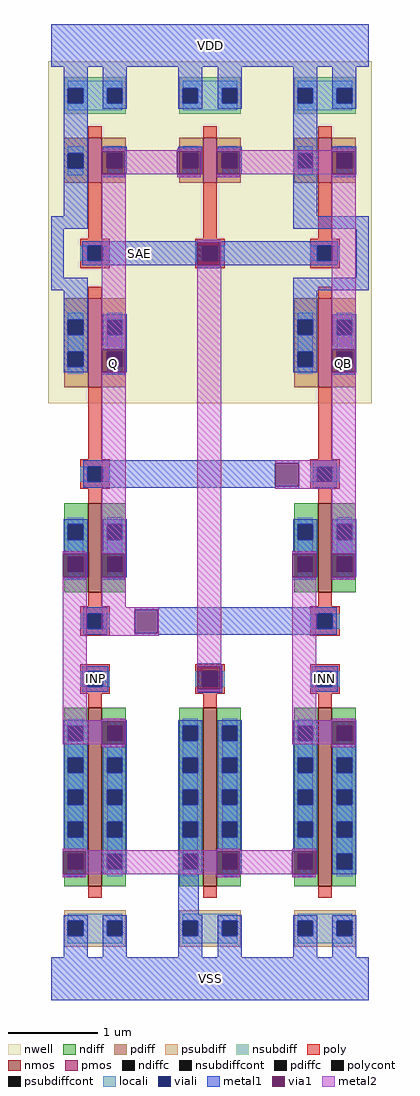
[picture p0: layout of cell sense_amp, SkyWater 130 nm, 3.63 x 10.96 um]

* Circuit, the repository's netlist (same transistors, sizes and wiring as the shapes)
.subckt sense_amp SAE INP INN Q QB VDD VSS
XMP3 Q SAE VDD VDD sky130_fd_pr__pfet_01v8 L=0.15 W=0.5 nf=1
XMP4 QB SAE VDD VDD sky130_fd_pr__pfet_01v8 L=0.15 W=0.5 nf=1
XMP5 QB SAE Q VDD sky130_fd_pr__pfet_01v8 L=0.15 W=0.5 nf=1
XMP1 Q QB VDD VDD sky130_fd_pr__pfet_01v8 L=0.15 W=1 nf=1
XMP2 QB Q VDD VDD sky130_fd_pr__pfet_01v8 L=0.15 W=1 nf=1
XMN1 Q QB FN1 VSS sky130_fd_pr__nfet_01v8 L=0.15 W=1 nf=1
XMN2 QB Q FN2 VSS sky130_fd_pr__nfet_01v8 L=0.15 W=1 nf=1
XMN3 FN1 INP TAIL VSS sky130_fd_pr__nfet_01v8 L=0.15 W=2 nf=1
XMN4 FN2 INN TAIL VSS sky130_fd_pr__nfet_01v8 L=0.15 W=2 nf=1
XMN0 TAIL SAE VSS VSS sky130_fd_pr__nfet_01v8 L=0.15 W=2 nf=1
.ends

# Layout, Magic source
magic
tech sky130B
<< nwell >>
rect -3 670 360 1054
<< nmos >>
rect 42 458 57 558
rect 300 458 315 558
rect 42 128 57 328
rect 171 128 186 328
rect 300 128 315 328
<< pmos >>
rect 42 918 57 968
rect 171 918 186 968
rect 300 918 315 968
rect 42 688 57 788
rect 300 688 315 788
<< ndiff >>
rect 15 534 42 558
rect 15 517 19 534
rect 36 517 42 534
rect 15 498 42 517
rect 15 481 19 498
rect 36 481 42 498
rect 15 458 42 481
rect 57 534 84 558
rect 57 517 63 534
rect 80 517 84 534
rect 57 498 84 517
rect 57 481 63 498
rect 80 481 84 498
rect 57 458 84 481
rect 273 534 300 558
rect 273 517 277 534
rect 294 517 300 534
rect 273 498 300 517
rect 273 481 277 498
rect 294 481 300 498
rect 273 458 300 481
rect 315 534 342 558
rect 315 517 321 534
rect 338 517 342 534
rect 315 498 342 517
rect 315 481 321 498
rect 338 481 342 498
rect 315 458 342 481
rect 15 308 42 328
rect 15 291 19 308
rect 36 291 42 308
rect 15 272 42 291
rect 15 255 19 272
rect 36 255 42 272
rect 15 236 42 255
rect 15 219 19 236
rect 36 219 42 236
rect 15 200 42 219
rect 15 183 19 200
rect 36 183 42 200
rect 15 164 42 183
rect 15 147 19 164
rect 36 147 42 164
rect 15 128 42 147
rect 57 308 84 328
rect 57 291 63 308
rect 80 291 84 308
rect 57 272 84 291
rect 57 255 63 272
rect 80 255 84 272
rect 57 236 84 255
rect 57 219 63 236
rect 80 219 84 236
rect 57 200 84 219
rect 57 183 63 200
rect 80 183 84 200
rect 57 164 84 183
rect 57 147 63 164
rect 80 147 84 164
rect 57 128 84 147
rect 144 308 171 328
rect 144 291 148 308
rect 165 291 171 308
rect 144 272 171 291
rect 144 255 148 272
rect 165 255 171 272
rect 144 236 171 255
rect 144 219 148 236
rect 165 219 171 236
rect 144 200 171 219
rect 144 183 148 200
rect 165 183 171 200
rect 144 164 171 183
rect 144 147 148 164
rect 165 147 171 164
rect 144 128 171 147
rect 186 308 213 328
rect 186 291 192 308
rect 209 291 213 308
rect 186 272 213 291
rect 186 255 192 272
rect 209 255 213 272
rect 186 236 213 255
rect 186 219 192 236
rect 209 219 213 236
rect 186 200 213 219
rect 186 183 192 200
rect 209 183 213 200
rect 186 164 213 183
rect 186 147 192 164
rect 209 147 213 164
rect 186 128 213 147
rect 273 308 300 328
rect 273 291 277 308
rect 294 291 300 308
rect 273 272 300 291
rect 273 255 277 272
rect 294 255 300 272
rect 273 236 300 255
rect 273 219 277 236
rect 294 219 300 236
rect 273 200 300 219
rect 273 183 277 200
rect 294 183 300 200
rect 273 164 300 183
rect 273 147 277 164
rect 294 147 300 164
rect 273 128 300 147
rect 315 308 342 328
rect 315 291 321 308
rect 338 291 342 308
rect 315 272 342 291
rect 315 255 321 272
rect 338 255 342 272
rect 315 236 342 255
rect 315 219 321 236
rect 338 219 342 236
rect 315 200 342 219
rect 315 183 321 200
rect 338 183 342 200
rect 315 164 342 183
rect 315 147 321 164
rect 338 147 342 164
rect 315 128 342 147
<< pdiff >>
rect 15 951 42 968
rect 15 934 19 951
rect 36 934 42 951
rect 15 918 42 934
rect 57 951 84 968
rect 57 934 63 951
rect 80 934 84 951
rect 57 918 84 934
rect 144 951 171 968
rect 144 934 148 951
rect 165 934 171 951
rect 144 918 171 934
rect 186 951 213 968
rect 186 934 192 951
rect 209 934 213 951
rect 186 918 213 934
rect 273 951 300 968
rect 273 934 277 951
rect 294 934 300 951
rect 273 918 300 934
rect 315 951 342 968
rect 315 934 321 951
rect 338 934 342 951
rect 315 918 342 934
rect 15 764 42 788
rect 15 747 19 764
rect 36 747 42 764
rect 15 728 42 747
rect 15 711 19 728
rect 36 711 42 728
rect 15 688 42 711
rect 57 764 84 788
rect 57 747 63 764
rect 80 747 84 764
rect 57 728 84 747
rect 57 711 63 728
rect 80 711 84 728
rect 57 688 84 711
rect 273 764 300 788
rect 273 747 277 764
rect 294 747 300 764
rect 273 728 300 747
rect 273 711 277 728
rect 294 711 300 728
rect 273 688 300 711
rect 315 764 342 788
rect 315 747 321 764
rect 338 747 342 764
rect 315 728 342 747
rect 315 711 321 728
rect 338 711 342 728
rect 315 688 342 711
<< ndiffc >>
rect 19 517 36 534
rect 19 481 36 498
rect 63 517 80 534
rect 63 481 80 498
rect 277 517 294 534
rect 277 481 294 498
rect 321 517 338 534
rect 321 481 338 498
rect 19 291 36 308
rect 19 255 36 272
rect 19 219 36 236
rect 19 183 36 200
rect 19 147 36 164
rect 63 291 80 308
rect 63 255 80 272
rect 63 219 80 236
rect 63 183 80 200
rect 63 147 80 164
rect 148 291 165 308
rect 148 255 165 272
rect 148 219 165 236
rect 148 183 165 200
rect 148 147 165 164
rect 192 291 209 308
rect 192 255 209 272
rect 192 219 209 236
rect 192 183 209 200
rect 192 147 209 164
rect 277 291 294 308
rect 277 255 294 272
rect 277 219 294 236
rect 277 183 294 200
rect 277 147 294 164
rect 321 291 338 308
rect 321 255 338 272
rect 321 219 338 236
rect 321 183 338 200
rect 321 147 338 164
<< pdiffc >>
rect 19 934 36 951
rect 63 934 80 951
rect 148 934 165 951
rect 192 934 209 951
rect 277 934 294 951
rect 321 934 338 951
rect 19 747 36 764
rect 19 711 36 728
rect 63 747 80 764
rect 63 711 80 728
rect 277 747 294 764
rect 277 711 294 728
rect 321 747 338 764
rect 321 711 338 728
<< psubdiff >>
rect 15 89 84 101
rect 15 72 19 89
rect 36 72 63 89
rect 80 72 84 89
rect 15 60 84 72
rect 144 89 213 101
rect 144 72 148 89
rect 165 72 192 89
rect 209 72 213 89
rect 144 60 213 72
rect 273 89 342 101
rect 273 72 277 89
rect 294 72 321 89
rect 338 72 342 89
rect 273 60 342 72
<< nsubdiff >>
rect 15 1024 84 1036
rect 15 1007 19 1024
rect 36 1007 63 1024
rect 80 1007 84 1024
rect 15 995 84 1007
rect 144 1024 213 1036
rect 144 1007 148 1024
rect 165 1007 192 1024
rect 209 1007 213 1024
rect 144 995 213 1007
rect 273 1024 342 1036
rect 273 1007 277 1024
rect 294 1007 321 1024
rect 338 1007 342 1024
rect 273 995 342 1007
<< psubdiffcont >>
rect 19 72 36 89
rect 63 72 80 89
rect 148 72 165 89
rect 192 72 209 89
rect 277 72 294 89
rect 321 72 338 89
<< nsubdiffcont >>
rect 19 1007 36 1024
rect 63 1007 80 1024
rect 148 1007 165 1024
rect 192 1007 209 1024
rect 277 1007 294 1024
rect 321 1007 338 1024
<< poly >>
rect 42 968 57 981
rect 171 968 186 981
rect 300 968 315 981
rect 42 855 57 918
rect 171 855 186 918
rect 300 855 315 918
rect 33 847 66 855
rect 33 830 41 847
rect 58 830 66 847
rect 33 822 66 830
rect 162 847 195 855
rect 162 830 170 847
rect 187 830 195 847
rect 162 822 195 830
rect 291 847 324 855
rect 291 830 299 847
rect 316 830 324 847
rect 291 822 324 830
rect 42 788 57 801
rect 300 788 315 801
rect 42 607 57 688
rect 300 607 315 688
rect 33 599 66 607
rect 33 582 41 599
rect 58 582 66 599
rect 33 574 66 582
rect 291 599 324 607
rect 291 582 299 599
rect 316 582 324 599
rect 291 574 324 582
rect 42 558 57 574
rect 300 558 315 574
rect 42 442 57 458
rect 300 442 315 458
rect 33 434 66 442
rect 33 417 41 434
rect 58 417 66 434
rect 33 409 66 417
rect 291 434 324 442
rect 291 417 299 434
rect 316 417 324 434
rect 291 409 324 417
rect 33 369 66 377
rect 33 352 41 369
rect 58 352 66 369
rect 33 344 66 352
rect 162 369 195 377
rect 162 352 170 369
rect 187 352 195 369
rect 162 344 195 352
rect 291 369 324 377
rect 291 352 299 369
rect 316 352 324 369
rect 291 344 324 352
rect 42 328 57 344
rect 171 328 186 344
rect 300 328 315 344
rect 42 115 57 128
rect 171 115 186 128
rect 300 115 315 128
<< polycont >>
rect 41 830 58 847
rect 170 830 187 847
rect 299 830 316 847
rect 41 582 58 599
rect 299 582 316 599
rect 41 417 58 434
rect 299 417 316 434
rect 41 352 58 369
rect 170 352 187 369
rect 299 352 316 369
<< locali >>
rect 19 1024 80 1032
rect 36 1007 63 1024
rect 19 999 80 1007
rect 148 1024 209 1032
rect 165 1007 192 1024
rect 148 999 209 1007
rect 277 1024 338 1032
rect 294 1007 321 1024
rect 277 999 338 1007
rect 19 951 36 959
rect 19 926 36 934
rect 63 951 80 959
rect 63 926 80 934
rect 148 951 165 959
rect 148 926 165 934
rect 192 951 209 959
rect 192 926 209 934
rect 277 951 294 959
rect 277 926 294 934
rect 321 951 338 959
rect 321 926 338 934
rect 33 830 41 847
rect 58 830 66 847
rect 162 830 170 847
rect 187 830 195 847
rect 291 830 299 847
rect 316 830 324 847
rect 19 764 36 772
rect 19 728 36 747
rect 19 703 36 711
rect 63 764 80 772
rect 63 728 80 747
rect 63 703 80 711
rect 277 764 294 772
rect 277 728 294 747
rect 277 703 294 711
rect 321 764 338 772
rect 321 728 338 747
rect 321 703 338 711
rect 33 582 41 599
rect 58 582 66 599
rect 291 582 299 599
rect 316 582 324 599
rect 19 534 36 542
rect 19 498 36 517
rect 19 473 36 481
rect 63 534 80 542
rect 63 498 80 517
rect 63 473 80 481
rect 277 534 294 542
rect 277 498 294 517
rect 277 473 294 481
rect 321 534 338 542
rect 321 498 338 517
rect 321 473 338 481
rect 33 417 41 434
rect 58 417 66 434
rect 291 417 299 434
rect 316 417 324 434
rect 33 352 41 369
rect 58 352 66 369
rect 162 352 170 369
rect 187 352 195 369
rect 291 352 299 369
rect 316 352 324 369
rect 19 308 36 316
rect 19 272 36 291
rect 19 236 36 255
rect 19 200 36 219
rect 19 164 36 183
rect 19 139 36 147
rect 63 308 80 316
rect 63 272 80 291
rect 63 236 80 255
rect 63 200 80 219
rect 63 164 80 183
rect 63 139 80 147
rect 148 308 165 316
rect 148 272 165 291
rect 148 236 165 255
rect 148 200 165 219
rect 148 164 165 183
rect 148 139 165 147
rect 192 308 209 316
rect 192 272 209 291
rect 192 236 209 255
rect 192 200 209 219
rect 192 164 209 183
rect 192 139 209 147
rect 277 308 294 316
rect 277 272 294 291
rect 277 236 294 255
rect 277 200 294 219
rect 277 164 294 183
rect 277 139 294 147
rect 321 308 338 316
rect 321 272 338 291
rect 321 236 338 255
rect 321 200 338 219
rect 321 164 338 183
rect 321 139 338 147
rect 19 89 80 97
rect 36 72 63 89
rect 19 64 80 72
rect 148 89 209 97
rect 165 72 192 89
rect 148 64 209 72
rect 277 89 338 97
rect 294 72 321 89
rect 277 64 338 72
<< viali >>
rect 19 1007 36 1024
rect 63 1007 80 1024
rect 148 1007 165 1024
rect 192 1007 209 1024
rect 277 1007 294 1024
rect 321 1007 338 1024
rect 19 934 36 951
rect 63 934 80 951
rect 148 934 165 951
rect 192 934 209 951
rect 277 934 294 951
rect 321 934 338 951
rect 41 830 58 847
rect 170 830 187 847
rect 299 830 316 847
rect 19 747 36 764
rect 19 711 36 728
rect 63 747 80 764
rect 63 711 80 728
rect 277 747 294 764
rect 277 711 294 728
rect 321 747 338 764
rect 321 711 338 728
rect 41 582 58 599
rect 299 582 316 599
rect 19 517 36 534
rect 19 481 36 498
rect 63 517 80 534
rect 63 481 80 498
rect 277 517 294 534
rect 277 481 294 498
rect 321 517 338 534
rect 321 481 338 498
rect 41 417 58 434
rect 299 417 316 434
rect 41 352 58 369
rect 170 352 187 369
rect 299 352 316 369
rect 19 291 36 308
rect 19 255 36 272
rect 19 219 36 236
rect 19 183 36 200
rect 19 147 36 164
rect 63 291 80 308
rect 63 255 80 272
rect 63 219 80 236
rect 63 183 80 200
rect 63 147 80 164
rect 148 291 165 308
rect 148 255 165 272
rect 148 219 165 236
rect 148 183 165 200
rect 148 147 165 164
rect 192 291 209 308
rect 192 255 209 272
rect 192 219 209 236
rect 192 183 209 200
rect 192 147 209 164
rect 277 291 294 308
rect 277 255 294 272
rect 277 219 294 236
rect 277 183 294 200
rect 277 147 294 164
rect 321 291 338 308
rect 321 255 338 272
rect 321 219 338 236
rect 321 183 338 200
rect 321 147 338 164
rect 19 72 36 89
rect 63 72 80 89
rect 148 72 165 89
rect 192 72 209 89
rect 277 72 294 89
rect 321 72 338 89
<< metal1 >>
rect 0 1048 357 1096
rect 14 1024 41 1048
rect 14 1007 19 1024
rect 36 1007 41 1024
rect 14 951 41 1007
rect 58 1024 85 1048
rect 58 1007 63 1024
rect 80 1007 85 1024
rect 58 1001 85 1007
rect 143 1024 170 1048
rect 143 1007 148 1024
rect 165 1007 170 1024
rect 143 1001 170 1007
rect 187 1024 214 1048
rect 187 1007 192 1024
rect 209 1007 214 1024
rect 187 1001 214 1007
rect 272 1024 299 1048
rect 272 1007 277 1024
rect 294 1007 299 1024
rect 58 956 85 958
rect 143 956 170 958
rect 187 956 214 958
rect 14 934 19 951
rect 36 934 41 951
rect 14 880 41 934
rect 57 953 85 956
rect 83 927 85 953
rect 142 953 170 956
rect 168 927 170 953
rect 186 953 214 956
rect 212 927 214 953
rect 272 951 299 1007
rect 316 1024 343 1048
rect 316 1007 321 1024
rect 338 1007 343 1024
rect 316 1001 343 1007
rect 316 956 343 958
rect 272 934 277 951
rect 294 934 299 951
rect 57 924 83 927
rect 142 924 168 927
rect 186 924 212 927
rect 0 866 41 880
rect 272 880 299 934
rect 315 953 343 956
rect 341 927 343 953
rect 315 924 341 927
rect 272 866 357 880
rect 0 811 14 866
rect 164 852 190 854
rect 35 851 322 852
rect 35 847 164 851
rect 190 847 322 851
rect 35 830 41 847
rect 58 830 164 847
rect 190 830 299 847
rect 316 830 322 847
rect 35 825 164 830
rect 190 825 322 830
rect 164 822 190 825
rect 343 811 357 866
rect 0 797 41 811
rect 14 764 41 797
rect 272 797 357 811
rect 14 747 19 764
rect 36 747 41 764
rect 14 728 41 747
rect 58 764 85 770
rect 58 747 63 764
rect 80 747 85 764
rect 58 734 85 747
rect 14 711 19 728
rect 36 711 41 728
rect 14 705 41 711
rect 57 731 85 734
rect 83 705 85 731
rect 272 764 299 797
rect 272 747 277 764
rect 294 747 299 764
rect 272 728 299 747
rect 316 764 343 770
rect 316 747 321 764
rect 338 747 343 764
rect 316 734 343 747
rect 272 711 277 728
rect 294 711 299 728
rect 272 705 299 711
rect 315 731 343 734
rect 341 705 343 731
rect 57 702 83 705
rect 315 702 341 705
rect 36 603 279 606
rect 36 599 252 603
rect 36 582 41 599
rect 58 582 252 599
rect 36 577 252 582
rect 278 577 279 603
rect 36 575 279 577
rect 294 599 321 606
rect 294 582 299 599
rect 316 582 321 599
rect 294 575 321 582
rect 252 574 278 575
rect 14 534 41 540
rect 14 517 19 534
rect 36 517 41 534
rect 14 504 41 517
rect 58 534 85 540
rect 58 517 63 534
rect 80 517 85 534
rect 58 504 85 517
rect 272 534 299 540
rect 272 517 277 534
rect 294 517 299 534
rect 272 504 299 517
rect 316 534 343 540
rect 316 517 321 534
rect 338 517 343 534
rect 316 504 343 517
rect 13 501 41 504
rect 39 475 41 501
rect 57 501 85 504
rect 83 475 85 501
rect 271 501 299 504
rect 297 475 299 501
rect 315 501 343 504
rect 341 475 343 501
rect 13 472 39 475
rect 57 472 83 475
rect 271 472 297 475
rect 315 472 341 475
rect 36 434 63 441
rect 36 417 41 434
rect 58 417 63 434
rect 36 410 63 417
rect 94 438 321 441
rect 120 434 321 438
rect 120 417 299 434
rect 316 417 321 434
rect 120 412 321 417
rect 94 410 321 412
rect 94 409 120 410
rect 164 376 190 378
rect 164 375 192 376
rect 35 369 64 375
rect 35 352 41 369
rect 58 352 64 369
rect 35 346 64 352
rect 190 349 192 375
rect 164 346 192 349
rect 293 369 322 375
rect 293 352 299 369
rect 316 352 322 369
rect 293 346 322 352
rect 165 345 192 346
rect 57 314 83 316
rect 315 314 341 316
rect 14 308 41 314
rect 14 291 19 308
rect 36 291 41 308
rect 14 272 41 291
rect 57 313 85 314
rect 83 287 85 313
rect 57 284 85 287
rect 14 255 19 272
rect 36 255 41 272
rect 14 236 41 255
rect 14 219 19 236
rect 36 219 41 236
rect 14 200 41 219
rect 14 183 19 200
rect 36 183 41 200
rect 14 170 41 183
rect 13 167 41 170
rect 39 141 41 167
rect 58 272 85 284
rect 58 255 63 272
rect 80 255 85 272
rect 58 236 85 255
rect 58 219 63 236
rect 80 219 85 236
rect 58 200 85 219
rect 58 183 63 200
rect 80 183 85 200
rect 58 164 85 183
rect 58 147 63 164
rect 80 147 85 164
rect 58 141 85 147
rect 143 308 170 314
rect 143 291 148 308
rect 165 291 170 308
rect 143 272 170 291
rect 143 255 148 272
rect 165 255 170 272
rect 143 236 170 255
rect 143 219 148 236
rect 165 219 170 236
rect 143 200 170 219
rect 143 183 148 200
rect 165 183 170 200
rect 143 164 170 183
rect 187 308 214 314
rect 187 291 192 308
rect 209 291 214 308
rect 187 272 214 291
rect 187 255 192 272
rect 209 255 214 272
rect 187 236 214 255
rect 187 219 192 236
rect 209 219 214 236
rect 187 200 214 219
rect 187 183 192 200
rect 209 183 214 200
rect 187 170 214 183
rect 272 308 299 314
rect 272 291 277 308
rect 294 291 299 308
rect 272 272 299 291
rect 315 313 343 314
rect 341 287 343 313
rect 315 284 343 287
rect 272 255 277 272
rect 294 255 299 272
rect 272 236 299 255
rect 272 219 277 236
rect 294 219 299 236
rect 272 200 299 219
rect 272 183 277 200
rect 294 183 299 200
rect 272 170 299 183
rect 143 147 148 164
rect 165 147 170 164
rect 143 141 170 147
rect 186 167 214 170
rect 212 141 214 167
rect 271 167 299 170
rect 297 141 299 167
rect 316 272 343 284
rect 316 255 321 272
rect 338 255 343 272
rect 316 236 343 255
rect 316 219 321 236
rect 338 219 343 236
rect 316 200 343 219
rect 316 183 321 200
rect 338 183 343 200
rect 316 164 343 183
rect 316 147 321 164
rect 338 147 343 164
rect 316 141 343 147
rect 13 138 39 141
rect 143 95 166 141
rect 186 138 212 141
rect 271 138 297 141
rect 14 89 41 95
rect 14 72 19 89
rect 36 72 41 89
rect 14 48 41 72
rect 58 89 85 95
rect 58 72 63 89
rect 80 72 85 89
rect 58 48 85 72
rect 143 89 170 95
rect 143 72 148 89
rect 165 72 170 89
rect 143 48 170 72
rect 187 89 214 95
rect 187 72 192 89
rect 209 72 214 89
rect 187 48 214 72
rect 272 89 299 95
rect 272 72 277 89
rect 294 72 299 89
rect 272 48 299 72
rect 316 89 343 95
rect 316 72 321 89
rect 338 72 343 89
rect 316 48 343 72
rect 0 0 357 48
<< via1 >>
rect 57 951 83 953
rect 57 934 63 951
rect 63 934 80 951
rect 80 934 83 951
rect 57 927 83 934
rect 142 951 168 953
rect 142 934 148 951
rect 148 934 165 951
rect 165 934 168 951
rect 142 927 168 934
rect 186 951 212 953
rect 186 934 192 951
rect 192 934 209 951
rect 209 934 212 951
rect 186 927 212 934
rect 315 951 341 953
rect 315 934 321 951
rect 321 934 338 951
rect 338 934 341 951
rect 315 927 341 934
rect 164 847 190 851
rect 164 830 170 847
rect 170 830 187 847
rect 187 830 190 847
rect 164 825 190 830
rect 57 728 83 731
rect 57 711 63 728
rect 63 711 80 728
rect 80 711 83 728
rect 57 705 83 711
rect 315 728 341 731
rect 315 711 321 728
rect 321 711 338 728
rect 338 711 341 728
rect 315 705 341 711
rect 252 577 278 603
rect 13 498 39 501
rect 13 481 19 498
rect 19 481 36 498
rect 36 481 39 498
rect 13 475 39 481
rect 57 498 83 501
rect 57 481 63 498
rect 63 481 80 498
rect 80 481 83 498
rect 57 475 83 481
rect 271 498 297 501
rect 271 481 277 498
rect 277 481 294 498
rect 294 481 297 498
rect 271 475 297 481
rect 315 498 341 501
rect 315 481 321 498
rect 321 481 338 498
rect 338 481 341 498
rect 315 475 341 481
rect 94 412 120 438
rect 164 369 190 375
rect 164 352 170 369
rect 170 352 187 369
rect 187 352 190 369
rect 164 349 190 352
rect 57 308 83 313
rect 57 291 63 308
rect 63 291 80 308
rect 80 291 83 308
rect 57 287 83 291
rect 13 164 39 167
rect 13 147 19 164
rect 19 147 36 164
rect 36 147 39 164
rect 13 141 39 147
rect 315 308 341 313
rect 315 291 321 308
rect 321 291 338 308
rect 338 291 341 308
rect 315 287 341 291
rect 186 164 212 167
rect 186 147 192 164
rect 192 147 209 164
rect 209 147 212 164
rect 186 141 212 147
rect 271 164 297 167
rect 271 147 277 164
rect 277 147 294 164
rect 294 147 297 164
rect 271 141 297 147
<< metal2 >>
rect 57 954 83 956
rect 142 954 168 956
rect 186 954 212 956
rect 315 954 341 956
rect 57 953 169 954
rect 83 927 142 953
rect 168 927 169 953
rect 186 953 342 954
rect 212 927 315 953
rect 341 927 342 953
rect 57 731 84 927
rect 142 924 168 927
rect 186 924 212 927
rect 83 705 84 731
rect 13 502 39 504
rect 13 501 40 502
rect 39 475 40 501
rect 13 314 40 475
rect 57 501 84 705
rect 83 475 84 501
rect 57 441 84 475
rect 164 852 190 854
rect 164 851 191 852
rect 190 825 191 851
rect 57 438 121 441
rect 57 412 94 438
rect 120 412 121 438
rect 57 409 121 412
rect 164 375 191 825
rect 315 731 342 927
rect 341 705 342 731
rect 315 606 342 705
rect 252 603 342 606
rect 278 577 342 603
rect 252 574 342 577
rect 190 349 191 375
rect 271 502 297 504
rect 271 501 298 502
rect 297 475 298 501
rect 164 346 190 349
rect 57 314 83 316
rect 271 314 298 475
rect 315 501 342 574
rect 341 475 342 501
rect 315 472 341 475
rect 315 314 341 316
rect 13 313 84 314
rect 13 287 57 313
rect 83 287 84 313
rect 271 313 342 314
rect 271 287 315 313
rect 341 287 342 313
rect 57 284 83 287
rect 315 284 341 287
rect 13 168 39 170
rect 186 168 212 170
rect 271 168 297 170
rect 13 167 298 168
rect 39 141 186 167
rect 212 141 271 167
rect 297 141 298 167
rect 13 138 39 141
rect 186 138 212 141
rect 271 138 297 141
<< labels >>
rlabel metal1 35 825 164 852 5 SAE
port 1 s
rlabel metal1 35 346 64 375 5 INP
port 2 s
rlabel metal1 293 346 322 375 5 INN
port 3 s
rlabel metal2 57 475 84 954 5 Q
port 4 s
rlabel metal2 315 475 342 954 5 QB
port 5 s
rlabel metal1 0 1048 357 1096 5 VDD
port 6 s
rlabel metal1 0 0 357 48 5 VSS
port 7 s
<< end >>
